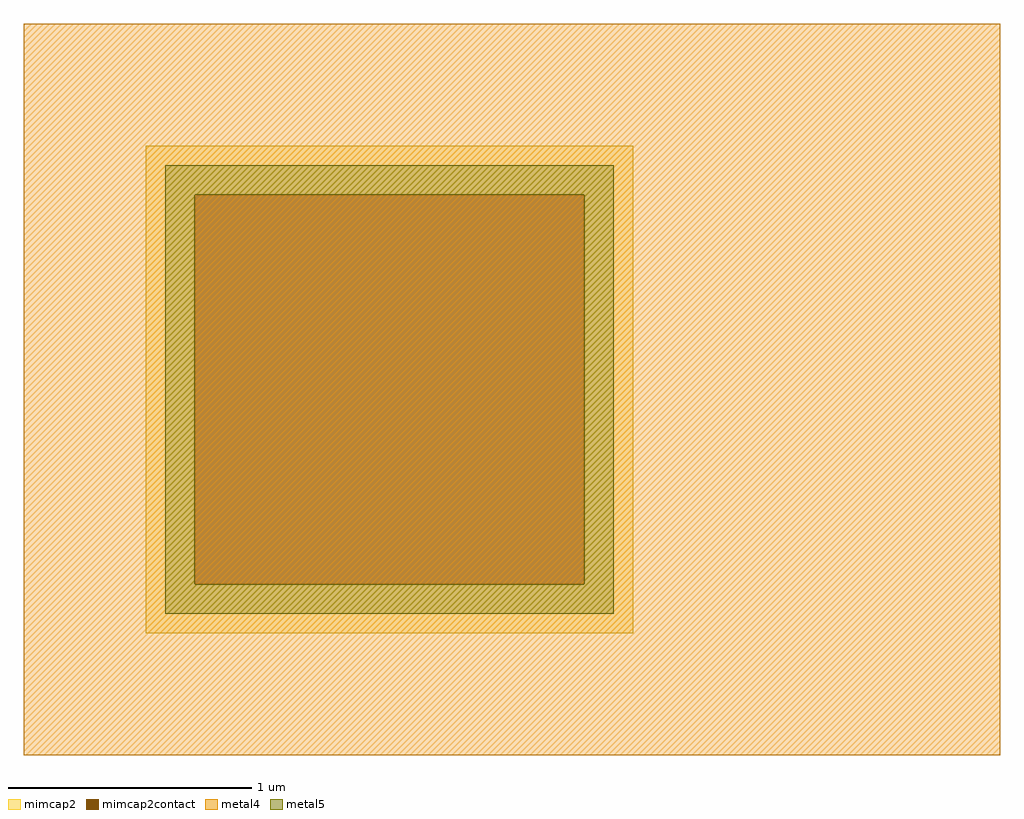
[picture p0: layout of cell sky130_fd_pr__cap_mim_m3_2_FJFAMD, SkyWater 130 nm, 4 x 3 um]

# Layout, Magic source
magic
tech sky130A
magscale 1 2
<< metal4 >>
rect -551 -300 250 300
<< mimcap2 >>
rect -451 160 -51 200
rect -451 -160 -411 160
rect -91 -160 -51 160
rect -451 -200 -51 -160
<< mimcap2contact >>
rect -411 -160 -91 160
<< metal5 >>
rect -435 160 -67 184
rect -435 -160 -411 160
rect -91 -160 -67 160
rect -435 -184 -67 -160
<< properties >>
string FIXED_BBOX -551 -300 49 300
string gencell sky130_fd_pr__cap_mim_m3_2
string library sky130
string parameters w 2.00 l 2.00 val 9.52 carea 2.00 cperi 0.19 nx 1 ny 1 dummy 0 square 0 lmin 2.00 wmin 2.00 lmax 30.0 wmax 30.0 dc 0 bconnect 1 tconnect 1 ccov 100
<< end >>
